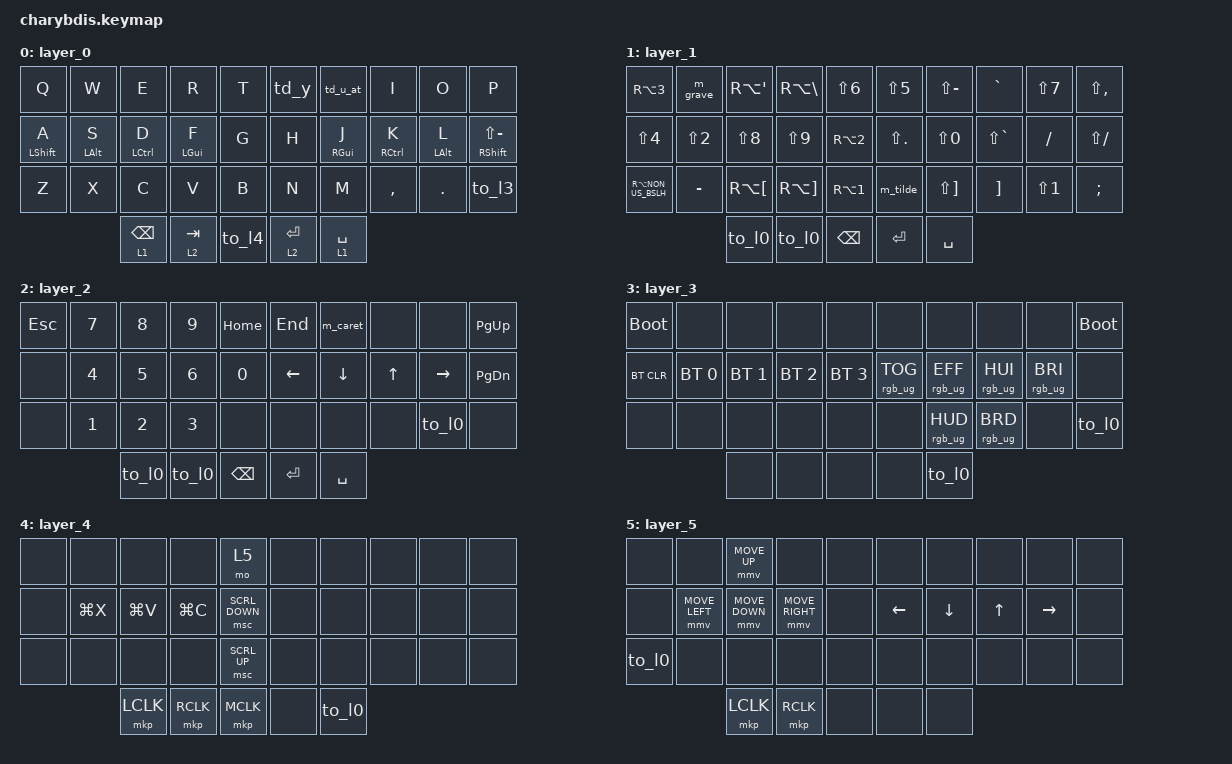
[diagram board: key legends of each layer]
#include <behaviors.dtsi>
#include <dt-bindings/zmk/bt.h>
#include <dt-bindings/zmk/keys.h>
#include <dt-bindings/zmk/rgb.h>
#include <dt-bindings/zmk/mouse.h>

/* --- COLORES --- */
#define LILA      280
#define AZUL      240
#define ROJO      0
#define AMARILLO  60
#define VERDE     120

/* --- DEFINICIONES MAC ESPAÑOL --- */
#define ES_CARET  LS(LBKT)
#define ES_PERC   LS(N5)
#define ES_TILDE  RA(SEMI)
#define ES_ACUTE  SQT
#define ES_AT     RA(N2)
#define ES_SEMI   LS(COMMA)
#define ES_EQL    LS(N0)
#define ES_PIPE   RA(N1)
#define ES_SLSH   LS(N7)
#define ES_UNDS   LS(SLASH)
#define ES_HASH   RA(N3)
#define ES_EXCL   LS(N1)
#define ES_COLN   LS(DOT)
#define ES_DOT    DOT
#define ES_COMM   COMMA
#define ES_AMPS   LS(N6)
#define ES_MINS   SLASH
#define ES_PLUS   RBKT
#define ES_ASTR   LS(RBKT)
#define ES_LPAR   LS(N8)
#define ES_RPAR   LS(N9)
#define ES_LABK   GRAVE
#define ES_RABK   LS(GRAVE)
#define ES_QUES   LS(MINUS)
#define ES_BSLH   RA(NON_US_BSLH)
#define ES_DLR    LS(N4)
#define ES_IQUE   LS(EQUAL)
#define ES_LBRC   RA(SQT)
#define ES_RBRC   RA(BSLH)
#define ES_LBKT   RA(LBKT)
#define ES_RBKT   RA(RBKT)
#define ES_DQUO   LS(N2)
#define ES_SQUO   MINUS
#define ES_GRV_D  LBKT

/ {
    macros {
        to_l1: to_l1 {
            compatible = "zmk,behavior-macro";
            #binding-cells = <0>;
            bindings
                = <&macro_tap>, <&to 1>
                , <&macro_wait_time 30>
                , <&macro_tap>, <&rgb_ug RGB_COLOR_HSB(AZUL,100,50)>;
        };

        to_l2: to_l2 {
            compatible = "zmk,behavior-macro";
            #binding-cells = <0>;
            bindings
                = <&macro_tap>, <&to 2>
                , <&macro_wait_time 30>
                , <&macro_tap>, <&rgb_ug RGB_COLOR_HSB(ROJO,100,50)>;
        };

        to_l3: to_l3 {
            compatible = "zmk,behavior-macro";
            #binding-cells = <0>;
            bindings
                = <&macro_tap>, <&to 3>
                , <&macro_wait_time 30>
                , <&macro_tap>, <&rgb_ug RGB_COLOR_HSB(AMARILLO,100,50)>;
        };

        to_l4: to_l4 {
            compatible = "zmk,behavior-macro";
            #binding-cells = <0>;
            bindings
                = <&macro_tap>, <&to 4>
                , <&macro_wait_time 30>
                , <&macro_tap>, <&rgb_ug RGB_COLOR_HSB(VERDE,100,50)>;
        };

        to_l0: to_l0 {
            compatible = "zmk,behavior-macro";
            #binding-cells = <0>;
            bindings
                = <&macro_tap>, <&to 0>
                , <&macro_wait_time 30>
                , <&macro_tap>, <&rgb_ug RGB_COLOR_HSB(LILA,100,50)>;
        };

        /* --- Macros momentaneos con cambio de color CORREGIDOS --- */
        mo_l1_c: mo_l1_c {
            compatible = "zmk,behavior-macro";
            #binding-cells = <0>;
            bindings
                = <&macro_tap>, <&rgb_ug RGB_COLOR_HSB(AZUL,100,50)>
                , <&macro_press>, <&mo 1>
                , <&macro_pause_for_release>
                , <&macro_release>, <&mo 1>
                , <&macro_tap>, <&rgb_ug RGB_COLOR_HSB(LILA,100,50)>;
        };

        mo_l2_c: mo_l2_c {
            compatible = "zmk,behavior-macro";
            #binding-cells = <0>;
            bindings
                = <&macro_tap>, <&rgb_ug RGB_COLOR_HSB(ROJO,100,50)>
                , <&macro_press>, <&mo 2>
                , <&macro_pause_for_release>
                , <&macro_release>, <&mo 2>
                , <&macro_tap>, <&rgb_ug RGB_COLOR_HSB(LILA,100,50)>;
        };

        mo_l3_c: mo_l3_c {
            compatible = "zmk,behavior-macro";
            #binding-cells = <0>;
            bindings
                = <&macro_tap>, <&rgb_ug RGB_COLOR_HSB(AMARILLO,100,50)>
                , <&macro_press>, <&mo 3>
                , <&macro_pause_for_release>
                , <&macro_release>, <&mo 3>
                , <&macro_tap>, <&rgb_ug RGB_COLOR_HSB(LILA,100,50)>;
        };

        mo_l4_c: mo_l4_c {
            compatible = "zmk,behavior-macro";
            #binding-cells = <0>;
            bindings
                = <&macro_tap>, <&rgb_ug RGB_COLOR_HSB(VERDE,100,50)>
                , <&macro_press>, <&mo 4>
                , <&macro_pause_for_release>
                , <&macro_release>, <&mo 4>
                , <&macro_tap>, <&rgb_ug RGB_COLOR_HSB(LILA,100,50)>;
        };

        m_angle:     m_angle     { compatible = "zmk,behavior-macro"; #binding-cells = <0>; bindings = <&kp ES_LABK>, <&kp ES_RABK>, <&kp LEFT>; };
        m_parens:    m_parens    { compatible = "zmk,behavior-macro"; #binding-cells = <0>; bindings = <&kp ES_LPAR>, <&kp ES_RPAR>, <&kp LEFT>; };
        m_braces:    m_braces    { compatible = "zmk,behavior-macro"; #binding-cells = <0>; bindings = <&kp RA(LBKT)>, <&kp RA(RBKT)>, <&kp LEFT>; };
        m_brackets:  m_brackets  { compatible = "zmk,behavior-macro"; #binding-cells = <0>; bindings = <&kp RA(SQT)>, <&kp RA(BSLH)>, <&kp LEFT>; };
        m_quotes:    m_quotes    { compatible = "zmk,behavior-macro"; #binding-cells = <0>; bindings = <&kp LS(N2)>, <&kp LS(N2)>, <&kp LEFT>; };
        m_s_quotes:  m_s_quotes  { compatible = "zmk,behavior-macro"; #binding-cells = <0>; bindings = <&kp SQT>, <&kp SQT>, <&kp LEFT>; };
        m_backticks: m_backticks { compatible = "zmk,behavior-macro"; #binding-cells = <0>; bindings = <&kp LS(LBKT)>, <&kp LS(LBKT)>, <&kp LEFT>; };
        m_tilde:     m_tilde     { compatible = "zmk,behavior-macro"; #binding-cells = <0>; bindings = <&kp ES_TILDE>, <&kp SPACE>; };
        m_grave:     m_grave     { compatible = "zmk,behavior-macro"; #binding-cells = <0>; bindings = <&kp ES_GRV_D>, <&kp SPACE>; };
        m_caret:     m_caret     { compatible = "zmk,behavior-macro"; #binding-cells = <0>; bindings = <&kp ES_CARET>, <&kp SPACE>; };

    };

    behaviors {
        hm: homerow_mods {
            compatible = "zmk,behavior-hold-tap";
            #binding-cells = <2>;
            flavor = "tap-preferred";
            tapping-term-ms = <200>;
            quick-tap-ms = <160>;
            require-prior-idle-ms = <120>;
            bindings = <&kp>, <&kp>;
        };

        hm_shift: homerow_mods_shift {
            compatible = "zmk,behavior-hold-tap";
            #binding-cells = <2>;
            flavor = "tap-preferred";
            tapping-term-ms = <200>;
            quick-tap-ms = <140>;
            require-prior-idle-ms = <150>;
            bindings = <&kp>, <&kp>;
        };

        /* --- Hold-taps momentaneos CORREGIDOS: más rápidos (120ms) + retro-tap --- */
        lt_c1: lt_colored_1 {
            compatible = "zmk,behavior-hold-tap";
            #binding-cells = <2>;
            flavor = "balanced";
            tapping-term-ms = <120>;
            quick-tap-ms = <125>;
            retro-tap;
            bindings = <&mo_l1_c>, <&kp>;
        };

        lt_c2: lt_colored_2 {
            compatible = "zmk,behavior-hold-tap";
            #binding-cells = <2>;
            flavor = "balanced";
            tapping-term-ms = <120>;
            quick-tap-ms = <125>;
            retro-tap;
            bindings = <&mo_l2_c>, <&kp>;
        };

        ht_l3: ht_layer3 {
            compatible = "zmk,behavior-hold-tap";
            #binding-cells = <2>;
            flavor = "balanced";
            tapping-term-ms = <120>;
            quick-tap-ms = <125>;
            retro-tap;
            bindings = <&mo_l3_c>, <&kp>;
        };

        ht_l4: ht_layer4 {
            compatible = "zmk,behavior-hold-tap";
            #binding-cells = <2>;
            flavor = "balanced";
            tapping-term-ms = <120>;
            quick-tap-ms = <125>;
            retro-tap;
            bindings = <&mo_l4_c>, <&kp>;
        };

        lt_bspc: lt_bspc {
            compatible = "zmk,behavior-hold-tap";
            #binding-cells = <2>;
            flavor = "balanced";
            tapping-term-ms = <200>;
            quick-tap-ms = <175>;
            bindings = <&mo>, <&kp>;
        };

        td_u_at:       td_u_at       { compatible = "zmk,behavior-tap-dance"; #binding-cells = <0>; tapping-term-ms = <160>; bindings = <&kp U>, <&kp ES_AT>; };
        td_perc_caret: td_perc_caret { compatible = "zmk,behavior-tap-dance"; #binding-cells = <0>; tapping-term-ms = <150>; bindings = <&kp ES_PERC>, <&kp ES_CARET>; };
        td_dot_coln:   td_dot_coln   { compatible = "zmk,behavior-tap-dance"; #binding-cells = <0>; tapping-term-ms = <150>; bindings = <&kp ES_DOT>,  <&kp ES_COLN>;  };
        td_comm_semi:  td_comm_semi  { compatible = "zmk,behavior-tap-dance"; #binding-cells = <0>; tapping-term-ms = <150>; bindings = <&kp ES_COMM>, <&kp ES_SEMI>;  };
        td_mi_un:      td_mi_un      { compatible = "zmk,behavior-tap-dance"; #binding-cells = <0>; tapping-term-ms = <150>; bindings = <&kp ES_UNDS>, <&kp ES_MINS>;  };
        td_sl_bs:      td_sl_bs      { compatible = "zmk,behavior-tap-dance"; #binding-cells = <0>; tapping-term-ms = <150>; bindings = <&kp ES_SLSH>, <&kp ES_BSLH>;  };
        td_pl_as:      td_pl_as      { compatible = "zmk,behavior-tap-dance"; #binding-cells = <0>; tapping-term-ms = <150>; bindings = <&kp ES_PLUS>, <&kp ES_ASTR>;  };
        td_amp_pipe:   td_amp_pipe   { compatible = "zmk,behavior-tap-dance"; #binding-cells = <0>; tapping-term-ms = <150>; bindings = <&kp ES_AMPS>, <&kp ES_PIPE>;  };
        td_eql_neq:    td_eql_neq    { compatible = "zmk,behavior-tap-dance"; #binding-cells = <0>; tapping-term-ms = <150>; bindings = <&kp ES_EQL>,  <&kp ES_EXCL>;  };
        td_dlr_hash:   td_dlr_hash   { compatible = "zmk,behavior-tap-dance"; #binding-cells = <0>; tapping-term-ms = <150>; bindings = <&kp ES_DLR>,  <&kp ES_HASH>;  };
        td_ique_ques:  td_ique_ques  { compatible = "zmk,behavior-tap-dance"; #binding-cells = <0>; tapping-term-ms = <150>; bindings = <&kp ES_QUES>, <&kp ES_IQUE>;  };
        td_ene:        td_ene        { compatible = "zmk,behavior-tap-dance"; #binding-cells = <0>; tapping-term-ms = <150>; bindings = <&kp SEMI>,    <&m_tilde>;     };
        td_y:          td_y          { compatible = "zmk,behavior-tap-dance"; #binding-cells = <0>; tapping-term-ms = <150>; bindings = <&kp Y>,       <&kp ES_ACUTE>; };
        td_comm_dot:   td_comm_dot   { compatible = "zmk,behavior-tap-dance"; #binding-cells = <0>; tapping-term-ms = <180>; bindings = <&kp ES_COMM>, <&kp ES_DOT>;   };
        td_u_til:      td_u_til      { compatible = "zmk,behavior-tap-dance"; #binding-cells = <0>; tapping-term-ms = <150>; bindings = <&kp U>, <&m_tilde>;           };
    };

    keymap {
        compatible = "zmk,keymap";

        layer_0 {
            bindings = <
            &kp Q                &kp W            &kp E            &kp R             &kp T                 &td_y             &td_u_at          &kp I             &kp O             &kp P
            &hm_shift LSHFT A    &hm LALT S       &hm LCTRL D      &hm LGUI F        &kp G                 &kp H             &hm RGUI J        &hm RCTRL K       &hm LALT L        &hm_shift RSHFT ES_QUES
            &kp Z                &kp X            &kp C            &kp V             &kp B                 &kp N             &kp M             &kp COMMA         &kp DOT           &to_l3
                                                  &lt_bspc 1 BSPC  &lt 2 TAB         &to_l4                &lt 2 RET         &lt 1 SPACE
            >;
        };
        layer_1 {
            bindings = <
            &kp ES_HASH          &m_grave         &kp ES_LBRC      &kp ES_RBRC       &kp ES_AMPS           &kp ES_PERC       &kp ES_QUES       &kp ES_LABK       &kp ES_SLSH       &kp ES_SEMI
            &kp ES_DLR           &kp ES_DQUO      &kp ES_LPAR      &kp ES_RPAR       &kp ES_AT             &kp ES_COLN       &kp ES_EQL        &kp ES_RABK       &kp ES_MINS       &kp ES_UNDS
            &kp ES_BSLH          &kp ES_SQUO      &kp ES_LBKT      &kp ES_RBKT       &kp ES_PIPE           &m_tilde          &kp ES_ASTR       &kp ES_PLUS       &kp ES_EXCL       &kp SEMI
                                                  &to_l0           &to_l0            &kp BSPC              &kp RET           &kp SPACE
            >;
        };

        layer_2 {
            bindings = <
            &kp ESC              &kp N7           &kp N8           &kp N9            &kp HOME              &kp END           &m_caret          &none             &none             &kp PG_UP
            &none                &kp N4           &kp N5           &kp N6            &kp N0                &kp LEFT          &kp DOWN          &kp UP            &kp RIGHT         &kp PG_DN
            &none                &kp N1           &kp N2           &kp N3            &none                 &none             &none             &none             &to_l0            &none
                                                  &to_l0           &to_l0            &kp BSPC              &kp RET           &kp SPACE
            >;
        };

        layer_3 {
            bindings = <
            &bootloader          &none            &none            &none             &none                 &none             &none             &none             &none             &bootloader
            &bt BT_CLR           &bt BT_SEL 0     &bt BT_SEL 1     &bt BT_SEL 2      &bt BT_SEL 3          &rgb_ug RGB_TOG   &rgb_ug RGB_EFF   &rgb_ug RGB_HUI   &rgb_ug RGB_BRI   &none
            &none                &none            &none            &none             &none                 &none             &rgb_ug RGB_HUD   &rgb_ug RGB_BRD   &none             &to_l0
                                                  &none            &none             &none                 &none             &to_l0
            >;
        };

        layer_4 {
            bindings = <
            &none                &none            &none            &none             &mo 5                 &none             &none             &none             &none             &none
            &none                &kp LG(X)        &kp LG(V)        &kp LG(C)         &msc SCRL_DOWN        &none             &none             &none             &none             &none
            &none                &none            &none            &none             &msc SCRL_UP          &none             &none             &none             &none             &none
                                                  &mkp LCLK        &mkp RCLK         &mkp MCLK             &none             &to_l0
            >;
        };

        layer_5 {
            bindings = <
            &none                &none            &mmv MOVE_UP     &none             &none                 &none             &none             &none             &none             &none
            &none                &mmv MOVE_LEFT   &mmv MOVE_DOWN   &mmv MOVE_RIGHT   &none                 &kp LEFT          &kp DOWN          &kp UP            &kp RIGHT         &none
            &to_l0               &none            &none            &none             &none                 &none             &none             &none             &none             &none
                                                  &mkp LCLK        &mkp RCLK         &none                 &none             &none
            >;
        };
    };
};
